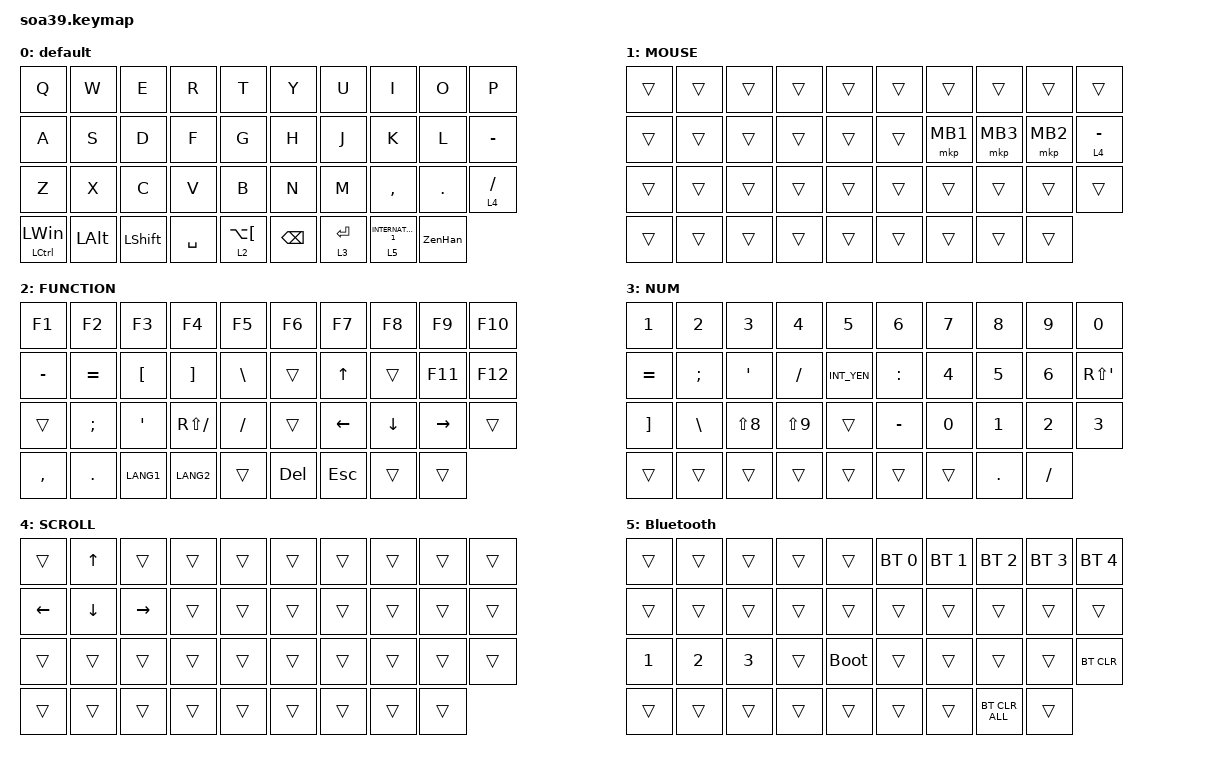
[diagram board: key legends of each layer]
#include <behaviors.dtsi>
#include <dt-bindings/zmk/bt.h>
#include <dt-bindings/zmk/keys.h>
#include <dt-bindings/zmk/pointing.h>

&mt {
    flavor = "balanced";
    quick-tap-ms = <0>;
};

/ {
    behaviors {
    };

    combos {
        compatible = "zmk,combos";

        tab {
            bindings = <&kp TAB>;
            key-positions = <9 10>;
        };

        shift_tab {
            bindings = <&kp LS(TAB)>;
            key-positions = <10 11>;
        };

        muhennkann {
            bindings = <&ZenHan INT_MUHENKAN>;
            key-positions = <9 8>;
        };

        double_quotation {
            bindings = <&kp DOUBLE_QUOTES>;
            key-positions = <18 19>;
        };

        eq {
            bindings = <&kp EQUAL>;
            key-positions = <22 23>;
        };
    };

    macros {
        ZenHan: to_layer_0 {
            compatible = "zmk,behavior-macro";
            #binding-cells = <0>;
            bindings =
                <&macro_press>,
                <&kp LALT>,
                <&macro_tap>,
                <&kp GRAVE>,
                <&macro_release>,
                <&kp LALT>;

            label = "TO_LAYER_0";
        };
    };

    behaviors {
        lt_to_layer_0: lt_to_layer_0 {
            compatible = "zmk,behavior-hold-tap";
            label = "LAYER_TAP_TO_0";
            bindings = <&mo>, <&ZenHan>;

            #binding-cells = <2>;
            tapping-term-ms = <200>;
        };
    };

    keymap {
        compatible = "zmk,keymap";

        default {
            bindings = <
&kp Q               &kp W         &kp E           &kp R      &kp T                   &kp Y          &kp U        &kp I                  &kp O       &kp P
&kp A               &kp S         &kp D           &kp F      &kp G                   &kp H          &kp J        &kp K                  &kp L       &kp MINUS
&kp Z               &kp X         &kp C           &kp V      &kp B                   &kp N          &kp M        &kp COMMA              &kp PERIOD  &lt 4 SLASH
&mt LCTRL LEFT_WIN  &kp LEFT_ALT  &kp LEFT_SHIFT  &kp SPACE  &lt 2 LA(LEFT_BRACKET)  &kp BACKSPACE  &lt 3 ENTER  &lt 5 INTERNATIONAL_1  &ZenHan
            >;
        };

        MOUSE {
            bindings = <
&trans  &trans  &trans  &trans  &trans  &trans  &trans    &trans    &trans    &trans
&trans  &trans  &trans  &trans  &trans  &trans  &mkp MB1  &mkp MB3  &mkp MB2  &lt 4 MINUS
&trans  &trans  &trans  &trans  &trans  &trans  &trans    &trans    &trans    &trans
&trans  &trans  &trans  &trans  &trans  &trans  &trans    &trans    &trans
            >;
        };

        FUNCTION {
            bindings = <
&kp F1     &kp F2         &kp F3            &kp F4             &kp F5         &kp F6   &kp F7    &kp F8    &kp F9     &kp F10
&kp MINUS  &kp EQUAL      &kp LEFT_BRACKET  &kp RIGHT_BRACKET  &kp BACKSLASH  &trans   &kp UP    &trans    &kp F11    &kp F12
&trans     &kp SEMICOLON  &kp SQT           &kp RS(SLASH)      &kp SLASH      &trans   &kp LEFT  &kp DOWN  &kp RIGHT  &trans
&kp COMMA  &kp PERIOD     &kp LANG1         &kp LANG2          &trans         &kp DEL  &kp ESC   &trans    &trans
            >;
        };

        NUM {
            bindings = <
&kp N1             &kp N2         &kp N3      &kp N4      &kp N5       &kp N6     &kp N7  &kp N8      &kp N9     &kp N0
&kp EQUAL          &kp SEMICOLON  &kp SQT     &kp SLASH   &kp INT_YEN  &kp COLON  &kp N4  &kp N5      &kp N6     &kp RS(SQT)
&kp RIGHT_BRACKET  &kp BACKSLASH  &kp LS(N8)  &kp LS(N9)  &trans       &kp MINUS  &kp N0  &kp N1      &kp N2     &kp N3
&trans             &trans         &trans      &trans      &trans       &trans     &trans  &kp PERIOD  &kp SLASH
            >;
        };

        SCROLL {
            bindings = <
&trans          &kp UP_ARROW    &trans           &trans  &trans  &trans  &trans  &trans  &trans  &trans
&kp LEFT_ARROW  &kp DOWN_ARROW  &kp RIGHT_ARROW  &trans  &trans  &trans  &trans  &trans  &trans  &trans
&trans          &trans          &trans           &trans  &trans  &trans  &trans  &trans  &trans  &trans
&trans          &trans          &trans           &trans  &trans  &trans  &trans  &trans  &trans
            >;
        };

        Bluetooth {
            bindings = <
&trans        &trans        &trans        &trans  &trans       &bt BT_SEL 0  &bt BT_SEL 1  &bt BT_SEL 2    &bt BT_SEL 3  &bt BT_SEL 4
&trans        &trans        &trans        &trans  &trans       &trans        &trans        &trans          &trans        &trans
&kp NUMBER_1  &kp NUMBER_2  &kp NUMBER_3  &trans  &bootloader  &trans        &trans        &trans          &trans        &bt BT_CLR
&trans        &trans        &trans        &trans  &trans       &trans        &trans        &bt BT_CLR_ALL  &trans
            >;
        };
    };
};
